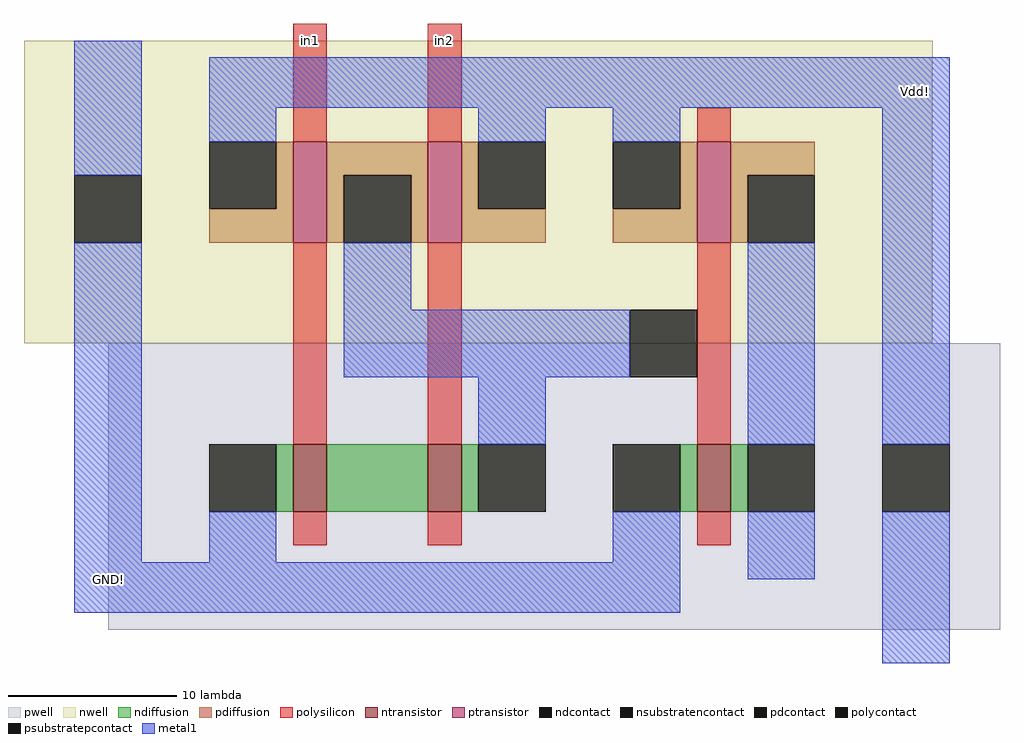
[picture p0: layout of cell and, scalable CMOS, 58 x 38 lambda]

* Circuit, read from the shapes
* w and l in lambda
.subckt and GND! Vdd! in1 in2
M1 n1 in1 GND! Vdd! nfet w=4 l=2
M2 n2 in2 n1 Vdd! nfet w=4 l=2
M3 n3 n2 GND! Vdd! nfet w=4 l=2
M4 n2 in1 Vdd! GND! pfet w=6 l=2
M5 Vdd! in2 n2 GND! pfet w=6 l=2
M6 n3 n2 Vdd! GND! pfet w=6 l=2
.ends

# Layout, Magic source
magic
tech scmos
<< nwell >>
rect 53 10 107 28
<< pwell >>
rect 58 -7 111 10
<< ntransistor >>
rect 69 0 71 4
rect 77 0 79 4
rect 93 0 95 4
<< ptransistor >>
rect 69 16 71 22
rect 77 16 79 22
rect 93 16 95 22
<< ndiffusion >>
rect 68 0 69 4
rect 71 0 77 4
rect 79 0 80 4
rect 92 0 93 4
rect 95 0 96 4
<< pdiffusion >>
rect 68 18 69 22
rect 64 16 69 18
rect 71 20 77 22
rect 71 16 72 20
rect 76 16 77 20
rect 79 18 80 22
rect 79 16 84 18
rect 92 18 93 22
rect 88 16 93 18
rect 95 20 100 22
rect 95 16 96 20
<< ndcontact >>
rect 64 0 68 4
rect 80 0 84 4
rect 88 0 92 4
rect 96 0 100 4
<< pdcontact >>
rect 64 18 68 22
rect 72 16 76 20
rect 80 18 84 22
rect 88 18 92 22
rect 96 16 100 20
<< psubstratepcontact >>
rect 104 0 108 4
<< nsubstratencontact >>
rect 56 16 60 20
<< polysilicon >>
rect 69 22 71 29
rect 77 22 79 29
rect 93 22 95 24
rect 69 4 71 16
rect 77 4 79 16
rect 93 4 95 16
rect 69 -2 71 0
rect 77 -2 79 0
rect 93 -2 95 0
<< polycontact >>
rect 89 8 93 12
<< metal1 >>
rect 56 20 60 28
rect 64 24 108 27
rect 64 22 68 24
rect 80 22 84 24
rect 56 -3 60 16
rect 88 22 92 24
rect 72 12 76 16
rect 72 8 89 12
rect 80 4 84 8
rect 96 4 100 16
rect 64 -3 68 0
rect 88 -3 92 0
rect 56 -6 92 -3
rect 96 -4 100 0
rect 104 4 108 24
rect 104 -9 108 0
<< labels >>
rlabel polysilicon 70 28 70 28 5 in1
rlabel polysilicon 78 28 78 28 5 in2
rlabel metal1 58 -4 58 -4 2 GND!
rlabel metal1 106 25 106 25 6 Vdd!
<< end >>
